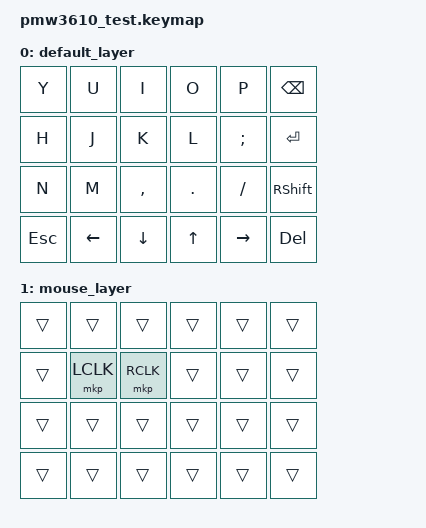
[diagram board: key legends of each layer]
#include <behaviors.dtsi>
#include <dt-bindings/zmk/keys.h>
#include <dt-bindings/zmk/mouse.h>

/ {
    keymap {
        compatible = "zmk,keymap";

        default_layer {
            bindings = <
                &kp Y      &kp U      &kp I      &kp O      &kp P      &kp BSPC
                &kp H      &kp J      &kp K      &kp L      &kp SEMI   &kp RET
                &kp N      &kp M      &kp COMMA  &kp DOT    &kp FSLH   &kp RSHFT
                &kp ESC    &kp LEFT   &kp DOWN   &kp UP     &kp RIGHT  &kp DEL
            >;
        };

        mouse_layer {
            bindings = <
                &trans    &trans    &trans    &trans    &trans    &trans
                &trans    &mkp LCLK &mkp RCLK &trans    &trans    &trans
                &trans    &trans    &trans    &trans    &trans    &trans
                &trans    &trans    &trans    &trans    &trans    &trans
            >;
        };
    };
};
